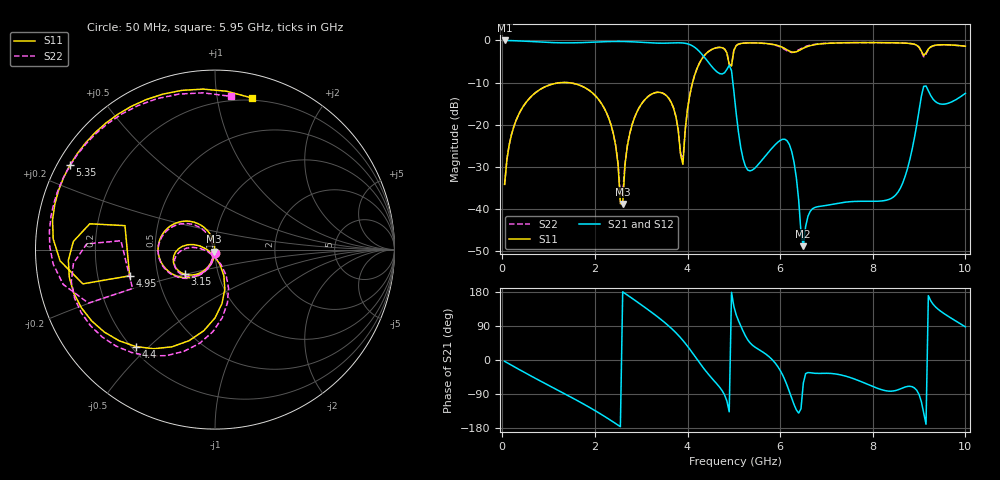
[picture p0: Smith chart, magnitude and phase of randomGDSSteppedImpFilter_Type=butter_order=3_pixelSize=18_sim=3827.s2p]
! freq	dB(S11)	phase(S11)	dB(S12)	phase(S12)
!  dB(S21)	phase(S21)	dB(S22)	phase(S22)
!S-par simulation data
#  GHz  S  DB  R 50
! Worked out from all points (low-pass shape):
!   200 points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, 50 MHz to 10 GHz, reference 50 ohm
!   highest |S21| = -0.01 dB at 50 MHz (marker M1); lowest = -48.8 dB at 6.5 GHz (marker M2)
!   |S21| within 3 dB of the highest: start of sweep to 4.289 GHz
!   lowest |S11| = -38.8 dB at 2.6 GHz (marker M3), VSWR 1.02, Z = 49.6 - j1.06 ohm
!   |S11| at or under -10 dB: start of sweep to 1.277 GHz; 1.408 GHz to 4.109 GHz (2.702 GHz wide, 97.9 % of centre)
!   |S22| runs from -36.6 to -0.5 dB; largest |S21 - S12| = 0
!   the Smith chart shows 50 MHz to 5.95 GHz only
!   S11 on the Smith chart (normalised r, x): 50 MHz: 1.00, -0.04; 3.15 GHz: 0.69, -0.20; 4.4 GHz: 0.22, -0.46; 4.95 GHz: 0.34, -0.13; 5.35 GHz: 0.04, +0.27; 5.95 GHz: 0.18, +1.26
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0.05  -34.15 -93.3  -0.01 -3.5  -0.01 -3.5  -34.16 -93.3
0.55  -14.19 -128.5  -0.22 -37.6  -0.22 -37.6  -14.19 -127.5
1.75  -11.00 152.3  -0.51 -115.8  -0.51 -115.8  -11.01 156.1
2.3  -18.48 112.6  -0.27 -155.9  -0.27 -155.9  -18.47 119.6
2.6  -38.76 -111.4  -0.25 179.9  -0.25 179.9  -36.28 -132.0
2.75  -22.20 -107.2  -0.30 167.3  -0.30 167.3  -22.11 -107.9
3.15  -13.29 -140.5  -0.55 132.5  -0.55 132.5  -13.27 -136.5
3.4  -12.31 -162.6  -0.65 109.5  -0.65 109.5  -12.31 -157.5
3.9  -29.36 -99.8  -0.61 51.7  -0.61 51.7  -28.40 -96.9
4.05  -12.90 -76.0  -0.99 28.2  -0.99 28.2  -12.85 -70.7
4.4  -3.14 -129.2  -4.47 -30.0  -4.47 -30.0  -3.12 -122.0
4.95  -6.06 -162.9  -7.19 178.7  -7.19 178.7  -5.88 -154.7
5.05  -1.26 -175.8  -17.24 119.6  -17.24 119.6  -1.23 -167.1
5.35  -0.58 149.6  -30.93 45.3  -30.93 45.3  -0.58 159.3
5.95  -1.21 76.2  -24.13 -17.5  -24.13 -17.5  -1.33 84.0
6.2  -2.54 -2.3  -24.70 -83.6  -24.70 -83.6  -2.73 -2.2
6.5  -1.86 -131.6  -48.78 -61.3  -48.78 -61.3  -1.67 -126.5
6.7  -1.11 -175.4  -39.90 -34.5  -39.90 -34.5  -1.01 -165.3
7.35  -0.57 124.0  -38.43 -40.5  -38.43 -40.5  -0.55 140.1
8.35  -0.55 71.0  -37.70 -82.2  -37.70 -82.2  -0.55 91.5
9.1  -3.58 34.1  -10.88 -139.6  -10.88 -139.6  -3.90 56.4
10  -1.38 -10.9  -12.54 87.4  -12.54 87.4  -1.38 12.0
